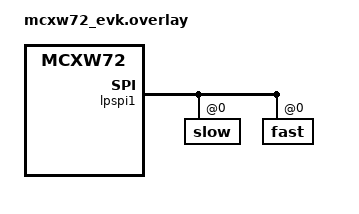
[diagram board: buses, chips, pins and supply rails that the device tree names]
/*
 * Copyright (c) 2024 NXP
 *
 * SPDX-License-Identifier: Apache-2.0
 */

spi_loopback: &lpspi1 {
	/* CS timing props kept here; the slow/fast devices are provided by the
	 * spi-loopback snippet and merged onto these nodes.
	 */
	slow@0 {
		spi-cs-setup-delay-ns = <1000>;
		spi-cs-hold-delay-ns = <1000>;
		spi-interframe-delay-ns = <1000>;
	};

	fast@0 {
		spi-cs-setup-delay-ns = <200>;
		spi-cs-hold-delay-ns = <200>;
		spi-interframe-delay-ns = <100>;
	};
};

#include "../spi-loopback.dtsi"
